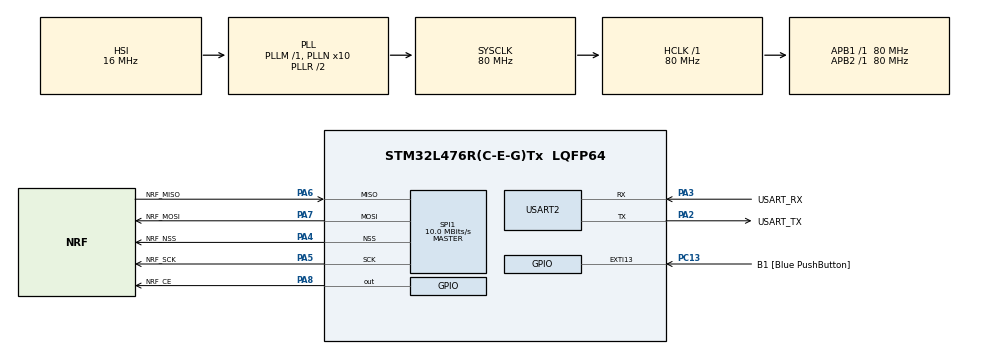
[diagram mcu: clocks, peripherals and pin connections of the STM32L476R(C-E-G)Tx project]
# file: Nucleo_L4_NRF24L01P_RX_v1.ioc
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Mcu.Family=STM32L4
Mcu.Name=STM32L476R(C-E-G)Tx
Mcu.Package=LQFP64
NVIC.PriorityGroup=NVIC_PRIORITYGROUP_4
PA13\ (JTMS-SWDIO).GPIO_Label=TMS
PA13\ (JTMS-SWDIO).Mode=Serial_Wire
PA13\ (JTMS-SWDIO).Signal=SYS_JTMS-SWDIO
PA14\ (JTCK-SWCLK).GPIO_Label=TCK
PA14\ (JTCK-SWCLK).Mode=Serial_Wire
PA14\ (JTCK-SWCLK).Signal=SYS_JTCK-SWCLK
PA2.GPIO_Label=USART_TX
PA2.GPIO_Mode=GPIO_MODE_AF_PP
PA2.GPIO_PuPd=GPIO_NOPULL
PA2.GPIO_Speed=GPIO_SPEED_FREQ_VERY_HIGH
PA2.Mode=Asynchronous
PA2.Signal=USART2_TX
PA3.GPIO_Label=USART_RX
PA3.GPIO_Mode=GPIO_MODE_AF_PP
PA3.GPIO_PuPd=GPIO_NOPULL
PA3.GPIO_Speed=GPIO_SPEED_FREQ_VERY_HIGH
PA3.Mode=Asynchronous
PA3.Signal=USART2_RX
PA4.GPIO_Label=NRF_NSS
PA4.Mode=NSS_Signal_Hard_Output
PA4.Signal=SPI1_NSS
PA5.GPIO_Label=NRF_SCK
PA5.Mode=Full_Duplex_Master
PA5.Signal=SPI1_SCK
PA6.GPIO_Label=NRF_MISO
PA6.Mode=Full_Duplex_Master
PA6.Signal=SPI1_MISO
PA7.GPIO_Label=NRF_MOSI
PA7.Mode=Full_Duplex_Master
PA7.Signal=SPI1_MOSI
PA8.GPIO_Label=NRF_CE
PA8.Signal=GPIO_Output
PB3\ (JTDO-TRACESWO).GPIO_Label=SWO
PB3\ (JTDO-TRACESWO).Signal=SYS_JTDO-SWO
PC13.GPIO_Label=B1 [Blue PushButton]
PC13.GPIO_ModeDefaultEXTI=GPIO_MODE_IT_FALLING
PC13.GPIO_PuPd=GPIO_NOPULL
PC13.Signal=GPXTI13
PC14-OSC32_IN\ (PC14).Mode=LSE-External-Oscillator
PC14-OSC32_IN\ (PC14).Signal=RCC_OSC32_IN
PC15-OSC32_OUT\ (PC15).Mode=LSE-External-Oscillator
PC15-OSC32_OUT\ (PC15).Signal=RCC_OSC32_OUT
PH0-OSC_IN\ (PH0).Signal=RCC_OSC_IN
PH1-OSC_OUT\ (PH1).Signal=RCC_OSC_OUT
ProjectManager.HeapSize=0x200
ProjectManager.StackSize=0x400
ProjectManager.TargetToolchain=STM32CubeIDE
RCC.ADCFreq_Value=64000000
RCC.AHBFreq_Value=80000000
RCC.APB1Freq_Value=80000000
RCC.APB1TimFreq_Value=80000000
RCC.APB2Freq_Value=80000000
RCC.APB2TimFreq_Value=80000000
RCC.CortexFreq_Value=80000000
RCC.HCLKFreq_Value=80000000
RCC.HSE_VALUE=8000000
RCC.HSI_VALUE=16000000
RCC.MSI_VALUE=4000000
RCC.PLLN=10
RCC.PLLSourceVirtual=RCC_PLLSOURCE_HSI
RCC.PREFETCH_ENABLE=1
RCC.SYSCLKFreq_VALUE=80000000
RCC.SYSCLKSource=RCC_SYSCLKSOURCE_PLLCLK
RCC.USBFreq_Value=64000000
RCC.VCOOutputFreq_Value=160000000
SPI1.BaudRatePrescaler=SPI_BAUDRATEPRESCALER_8
SPI1.CalculateBaudRate=10.0 MBits/s
SPI1.DataSize=SPI_DATASIZE_8BIT
SPI1.Direction=SPI_DIRECTION_2LINES
SPI1.Mode=SPI_MODE_MASTER
SPI1.VirtualNSS=VM_NSSHARD
SPI1.VirtualType=VM_MASTER
USART2.VirtualMode-Asynchronous=VM_ASYNC
USART2.WordLength=WORDLENGTH_8B
board=NUCLEO-L476RG

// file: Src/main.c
/* USER CODE BEGIN Header */
/**
  ******************************************************************************
  * @file           : main.c
  * @brief          : Main program body
  ******************************************************************************
  * @attention
  *
  * <h2><center>&copy; Copyright (c) 2022 STMicroelectronics.
  * All rights reserved.</center></h2>
  *
  * This software component is licensed by ST under BSD 3-Clause license,
  * the "License"; You may not use this file except in compliance with the
  * License. You may obtain a copy of the License at:
  *                        opensource.org/licenses/BSD-3-Clause
  *
  ******************************************************************************
  */
/* USER CODE END Header */
#include "main.h"

/* USER CODE BEGIN Includes */
#include <nRF24L01P.h>
#include <stdio.h>
#include <string.h>

#define true 1
#define false 0
uint8_t dataOut[32], dataIn[32];
/* My address */
uint8_t MyAddress[] = {
    0xE7,
	0xE7,
	0xE7,
	0xE7,
	0xE7
};
/* Receiver address */
uint8_t TxAddress[] = {
		0xE7,
		0xE7,
		0xE7,
		0xE7,
		0xE7
};
TM_NRF24L01_Transmit_Status_t transmissionStatus;
/* USER CODE END Includes */

SPI_HandleTypeDef hspi1;

UART_HandleTypeDef huart2;

/* USER CODE BEGIN PV */
/* Private variables ---------------------------------------------------------*/

/* USER CODE END PV */

void SystemClock_Config(void);
static void MX_GPIO_Init(void);
static void MX_USART2_UART_Init(void);
static void MX_SPI1_Init(void);
/* USER CODE BEGIN PFP */
/* Private function prototypes -----------------------------------------------*/
void NRF_Receive(void);
/* USER CODE END PFP */

int main(void)
{

  /* MCU Configuration--------------------------------------------------------*/

  /* Reset of all peripherals, Initializes the Flash interface and the Systick. */
  HAL_Init();

  /* Configure the system clock */
  SystemClock_Config();

  /* Initialize all configured peripherals */
  MX_GPIO_Init();
  MX_USART2_UART_Init();
  MX_SPI1_Init();
  /* USER CODE BEGIN 2 */

	if (HAL_SPIEx_FlushRxFifo(&hspi1)){
		Error_Handler();
	}

  char WELCOME_MSG[]="Welcome to STM32 RX\r\n";
  HAL_UART_Transmit(&huart2, (uint8_t*)WELCOME_MSG, strlen(WELCOME_MSG), HAL_MAX_DELAY);

  TM_NRF24L01_SoftwareReset(&hspi1);
  TM_NRF24L01_Init(&hspi1, 76, 32);
  TM_NRF24L01_setCrcWidth(&hspi1, 8);

  TM_NRF24L01_disableAutoAcknowledge(&hspi1);
  TM_NRF24L01_SetMyAddress(&hspi1,MyAddress);
  TM_NRF24L01_SetTxAddress(&hspi1,TxAddress);
  TM_NRF24L01_SetChannel(&hspi1, 50);
  TM_NRF24L01_SetRF(&hspi1, TM_NRF24L01_DataRate_1M, TM_NRF24L01_OutputPower_M18dBm);

  /* Set my address, 5 bytes */
  TM_NRF24L01_SetMyAddress(&hspi1,MyAddress);
  /* Set TX address, 5 bytes */

  TM_NRF24L01_SetTxAddress(&hspi1,TxAddress);
  //TM_NRF24L01_SetTxAddress(&hspi1,TxAddress);
  TM_NRF24L01_PowerUpRx(&hspi1);
  /* USER CODE END 2 */

  /* Infinite loop */
  while (1)
  {

    /* USER CODE BEGIN 3 */
  NRF_Receive();
  }
  /* USER CODE END 3 */
}

void SystemClock_Config(void)
{
  RCC_OscInitTypeDef RCC_OscInitStruct = {0};
  RCC_ClkInitTypeDef RCC_ClkInitStruct = {0};

  /** Configure the main internal regulator output voltage
  */
  if (HAL_PWREx_ControlVoltageScaling(PWR_REGULATOR_VOLTAGE_SCALE1) != HAL_OK)
  {
    Error_Handler();
  }
  /** Initializes the RCC Oscillators according to the specified parameters
  * in the RCC_OscInitTypeDef structure.
  */
  RCC_OscInitStruct.OscillatorType = RCC_OSCILLATORTYPE_HSI;
  RCC_OscInitStruct.HSIState = RCC_HSI_ON;
  RCC_OscInitStruct.HSICalibrationValue = RCC_HSICALIBRATION_DEFAULT;
  RCC_OscInitStruct.PLL.PLLState = RCC_PLL_ON;
  RCC_OscInitStruct.PLL.PLLSource = RCC_PLLSOURCE_HSI;
  RCC_OscInitStruct.PLL.PLLM = 1;
  RCC_OscInitStruct.PLL.PLLN = 10;
  RCC_OscInitStruct.PLL.PLLP = RCC_PLLP_DIV7;
  RCC_OscInitStruct.PLL.PLLQ = RCC_PLLQ_DIV2;
  RCC_OscInitStruct.PLL.PLLR = RCC_PLLR_DIV2;
  if (HAL_RCC_OscConfig(&RCC_OscInitStruct) != HAL_OK)
  {
    Error_Handler();
  }
  /** Initializes the CPU, AHB and APB buses clocks
  */
  RCC_ClkInitStruct.ClockType = RCC_CLOCKTYPE_HCLK|RCC_CLOCKTYPE_SYSCLK
                              |RCC_CLOCKTYPE_PCLK1|RCC_CLOCKTYPE_PCLK2;
  RCC_ClkInitStruct.SYSCLKSource = RCC_SYSCLKSOURCE_PLLCLK;
  RCC_ClkInitStruct.AHBCLKDivider = RCC_SYSCLK_DIV1;
  RCC_ClkInitStruct.APB1CLKDivider = RCC_HCLK_DIV1;
  RCC_ClkInitStruct.APB2CLKDivider = RCC_HCLK_DIV1;

  if (HAL_RCC_ClockConfig(&RCC_ClkInitStruct, FLASH_LATENCY_4) != HAL_OK)
  {
    Error_Handler();
  }
}

static void MX_SPI1_Init(void)
{

  /* SPI1 parameter configuration*/
  hspi1.Instance = SPI1;
  hspi1.Init.Mode = SPI_MODE_MASTER;
  hspi1.Init.Direction = SPI_DIRECTION_2LINES;
  hspi1.Init.DataSize = SPI_DATASIZE_8BIT;
  hspi1.Init.CLKPolarity = SPI_POLARITY_LOW;
  hspi1.Init.CLKPhase = SPI_PHASE_1EDGE;
  hspi1.Init.NSS = SPI_NSS_HARD_OUTPUT;
  hspi1.Init.BaudRatePrescaler = SPI_BAUDRATEPRESCALER_8;
  hspi1.Init.FirstBit = SPI_FIRSTBIT_MSB;
  hspi1.Init.TIMode = SPI_TIMODE_DISABLE;
  hspi1.Init.CRCCalculation = SPI_CRCCALCULATION_DISABLE;
  hspi1.Init.CRCPolynomial = 7;
  hspi1.Init.CRCLength = SPI_CRC_LENGTH_DATASIZE;
  hspi1.Init.NSSPMode = SPI_NSS_PULSE_ENABLE;
  if (HAL_SPI_Init(&hspi1) != HAL_OK)
  {
    Error_Handler();
  }

}

static void MX_USART2_UART_Init(void)
{

  huart2.Instance = USART2;
  huart2.Init.BaudRate = 115200;
  huart2.Init.WordLength = UART_WORDLENGTH_8B;
  huart2.Init.StopBits = UART_STOPBITS_1;
  huart2.Init.Parity = UART_PARITY_NONE;
  huart2.Init.Mode = UART_MODE_TX_RX;
  huart2.Init.HwFlowCtl = UART_HWCONTROL_NONE;
  huart2.Init.OverSampling = UART_OVERSAMPLING_16;
  huart2.Init.OneBitSampling = UART_ONE_BIT_SAMPLE_DISABLE;
  huart2.AdvancedInit.AdvFeatureInit = UART_ADVFEATURE_NO_INIT;
  if (HAL_UART_Init(&huart2) != HAL_OK)
  {
    Error_Handler();
  }

}

static void MX_GPIO_Init(void)
{
  GPIO_InitTypeDef GPIO_InitStruct = {0};

  /* GPIO Ports Clock Enable */
  __HAL_RCC_GPIOC_CLK_ENABLE();
  __HAL_RCC_GPIOH_CLK_ENABLE();
  __HAL_RCC_GPIOA_CLK_ENABLE();
  __HAL_RCC_GPIOB_CLK_ENABLE();

  /*Configure GPIO pin Output Level */
  HAL_GPIO_WritePin(NRF_CE_GPIO_Port, NRF_CE_Pin, GPIO_PIN_RESET);

  /*Configure GPIO pin : B1_Pin */
  GPIO_InitStruct.Pin = B1_Pin;
  GPIO_InitStruct.Mode = GPIO_MODE_IT_FALLING;
  GPIO_InitStruct.Pull = GPIO_NOPULL;
  HAL_GPIO_Init(B1_GPIO_Port, &GPIO_InitStruct);

  /*Configure GPIO pin : NRF_CE_Pin */
  GPIO_InitStruct.Pin = NRF_CE_Pin;
  GPIO_InitStruct.Mode = GPIO_MODE_OUTPUT_PP;
  GPIO_InitStruct.Pull = GPIO_NOPULL;
  GPIO_InitStruct.Speed = GPIO_SPEED_FREQ_LOW;
  HAL_GPIO_Init(NRF_CE_GPIO_Port, &GPIO_InitStruct);

}

/* USER CODE BEGIN 4 */
void NRF_Receive(void)
{
uint8_t buffer[32];
char msg[256];

   if(TM_NRF24L01_DataReady(&hspi1))
   {
	   TM_NRF24L01_GetData(&hspi1, buffer);

       /* Check transmit status */
       if (transmissionStatus == TM_NRF24L01_Transmit_Status_Ok) {
           /* Transmit went OK */
		    sprintf(msg, "OK\r\n ");
		    HAL_UART_Transmit(&huart2, (uint8_t*) msg, strlen(msg), HAL_MAX_DELAY);
       } else if (transmissionStatus == TM_NRF24L01_Transmit_Status_Lost) {
           /* Message was LOST */
		    sprintf(msg, "LOST\r\n ");
		    HAL_UART_Transmit(&huart2, (uint8_t*) msg, strlen(msg), HAL_MAX_DELAY);
       } else {
           /* This should never happen */
		    sprintf(msg, "SENDING\r\n ");
		    HAL_UART_Transmit(&huart2, (uint8_t*) msg, strlen(msg), HAL_MAX_DELAY);
       }

		for (int i=0; i<32; i++){
			    sprintf(msg, "%x ", buffer[i]);
			    HAL_UART_Transmit(&huart2, (uint8_t*) msg, strlen(msg), HAL_MAX_DELAY);
		}
   sprintf(msg, "\r\n");
   HAL_UART_Transmit(&huart2, (uint8_t*) msg, strlen(msg), HAL_MAX_DELAY);

   }

}

/* USER CODE END 4 */

void Error_Handler(void)
{
  while(1)
  {
  }
}

/************************ (C) COPYRIGHT STMicroelectronics *****END OF FILE****/
